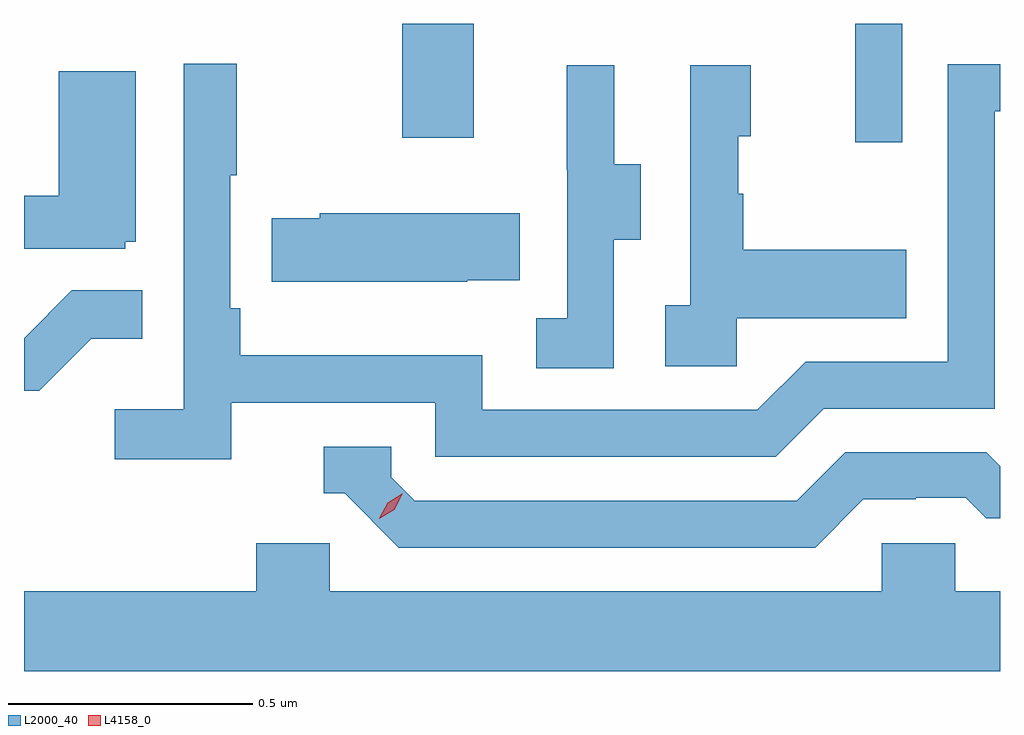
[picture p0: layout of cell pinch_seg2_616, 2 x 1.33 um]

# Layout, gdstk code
import gdstk
lib = gdstk.Library(unit=1e-6, precision=1e-09)
def R(c, l, rs):  # rectangles x0, y0, x1, y1
    for r in rs: c.add(gdstk.rectangle(r[:2], r[2:], *l))
def P(c, l, *ps):  # polygons
    for p in ps: c.add(gdstk.Polygon(p, *l))
L2000_40 = (2000, 40)
L4158_0 = (4158, 0)

pinch_seg2_616 = lib.new_cell('pinch_seg2_616')
R(pinch_seg2_616, L2000_40, [(1048.094,616.752,1048.191,616.994), (1047.166,616.761,1047.313,616.994)])
P(pinch_seg2_616, L2000_40, [(1046.816,616.218),(1047.234,616.218),(1047.234,616.107),(1047.931,616.107),(1048.03,616.206),(1048.38,616.206),(1048.38,616.815),(1048.391,616.815),(1048.391,616.911),(1048.284,616.911),(1048.284,616.302),(1047.993,616.302),(1047.894,616.203),(1047.33,616.203),(1047.33,616.315),(1046.834,616.315),(1046.834,616.411),(1046.814,616.411),(1046.814,616.684),(1046.827,616.684),(1046.827,616.912),(1046.718,616.912),(1046.718,616.204),(1046.577,616.204),(1046.577,616.102),(1046.816,616.102)],
  [(1047.852,616.391),(1048.199,616.391),(1048.199,616.531),(1047.865,616.531),(1047.865,616.646),(1047.855,616.646),(1047.855,616.764),(1047.88,616.764),(1047.88,616.909),(1047.756,616.909),(1047.756,616.418),(1047.705,616.418),(1047.705,616.293),(1047.852,616.293)],
  [(1047.6,616.552),(1047.655,616.552),(1047.655,616.707),(1047.601,616.707),(1047.601,616.909),(1047.503,616.909),(1047.503,616.695),(1047.504,616.695),(1047.504,616.391),(1047.441,616.391),(1047.441,616.288),(1047.6,616.288)],
  [(1046.598,616.548),(1046.62,616.548),(1046.62,616.897),(1046.462,616.897),(1046.462,616.642),(1046.391,616.642),(1046.391,616.533),(1046.598,616.533)],
  [(1047.299,616.469),(1047.407,616.469),(1047.407,616.606),(1046.997,616.606),(1046.997,616.596),(1046.899,616.596),(1046.899,616.466),(1047.299,616.466)],
  [(1046.529,616.349),(1046.633,616.349),(1046.633,616.448),(1046.489,616.448),(1046.391,616.35),(1046.391,616.242),(1046.422,616.242)],
  [(1048.111,616.02),(1048.218,616.02),(1048.218,616.023),(1048.321,616.023),(1048.363,615.981),(1048.391,615.981),(1048.391,616.088),(1048.363,616.116),(1048.074,616.116),(1047.975,616.017),(1047.192,616.017),(1047.144,616.065),(1047.144,616.128),(1047.005,616.128),(1047.005,616.032),(1047.048,616.032),(1047.159,615.921),(1048.012,615.921)],
  [(1048.391,615.832),(1048.299,615.832),(1048.299,615.93),(1048.149,615.93),(1048.149,615.832),(1047.018,615.832),(1047.018,615.93),(1046.867,615.93),(1046.867,615.832),(1046.391,615.832),(1046.391,615.668),(1048.391,615.668)])
P(pinch_seg2_616, L4158_0, [(1047.119,615.98),(1047.119,615.981),(1047.136,616.013),(1047.167,616.032),(1047.167,616.032),(1047.167,616.032),(1047.15,615.999),(1047.119,615.98)])

lib.write_gds('pinch_seg2_616.gds')
